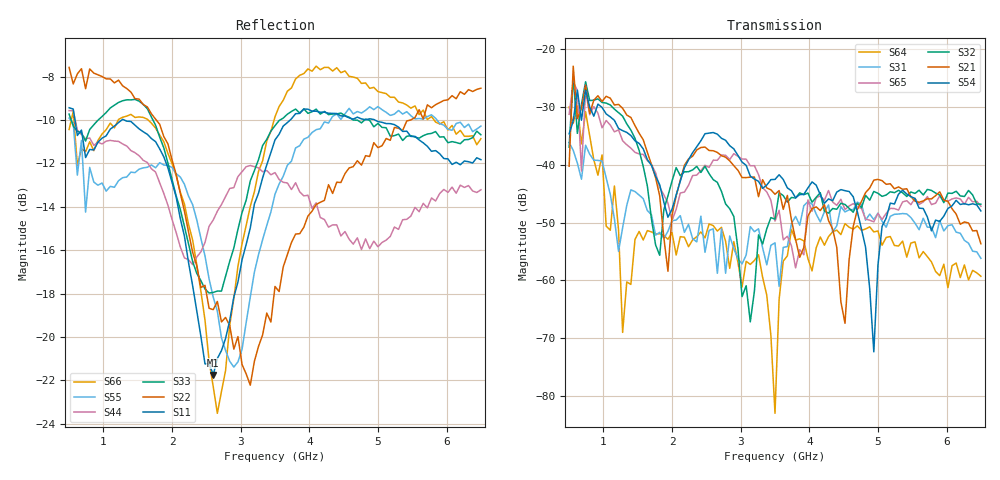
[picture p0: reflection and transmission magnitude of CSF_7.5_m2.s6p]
!Keysight Technologies,M9804A,MY58100912,A.14.10.03
!Date: Thursday, April 27, 2023 10:28:33
!Correction: S11(C  6-Port  )
!S12(C  6-Port  )
!S13(C  6-Port  )
!S14(C  6-Port  )
!S15(C  6-Port  )
!S16(C  6-Port  )
!S21(C  6-Port  )
!S22(C  6-Port  )
!S23(C  6-Port  )
!S24(C  6-Port  )
!S25(C  6-Port  )
!S26(C  6-Port  )
!S31(C  6-Port  )
!S32(C  6-Port  )
!S33(C  6-Port  )
!S34(C  6-Port  )
!S35(C  6-Port  )
!S36(C  6-Port  )
!S41(C  6-Port  )
!S42(C  6-Port  )
!S43(C  6-Port  )
!S44(C  6-Port  )
!S45(C  6-Port  )
!S46(C  6-Port  )
!S51(C  6-Port  )
!S52(C  6-Port  )
!S53(C  6-Port  )
!S54(C  6-Port  )
!S55(C  6-Port  )
!S56(C  6-Port  )
!S61(C  6-Port  )
!S62(C  6-Port  )
!S63(C  6-Port  )
!S64(C  6-Port  )
!S65(C  6-Port  )
!S66(C  6-Port  )
!S6P File: Measurement: :
# Hz S  RI  R 50
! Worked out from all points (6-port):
!   101 points, 500 MHz to 6.5 GHz, reference 50 ohm
!   strongest paths, dB at 500 MHz, 2 GHz, 3.5 GHz, 5 GHz, 6.5 GHz:
!     S54: -34.7, -47.7, -42.6, -57.4, -48.0
!     S21: -40.3, -48.7, -45.1, -42.6, -53.7
!     S32: -37.0, -42.8, -49.4, -45.0, -46.8
!     S65: -31.3, -49.6, -49.8, -48.4, -47.2
!     S31: -36.2, -49.7, -53.5, -48.4, -56.2
!     S64: -30.1, -51.7, -82.9, -51.5, -59.3
!   lowest |S11| = -21.8 dB at 2.6 GHz (marker M1), VSWR 1.18, Z = 42.7 + j1.94 ohm
!   |S11| at or under -10 dB: 585.1 MHz to 1.266 GHz (680.7 MHz wide, 73.6 % of centre); 1.305 GHz to 3.72 GHz (2.414 GHz wide, 96.1 % of centre); 4.958 GHz to end of sweep
